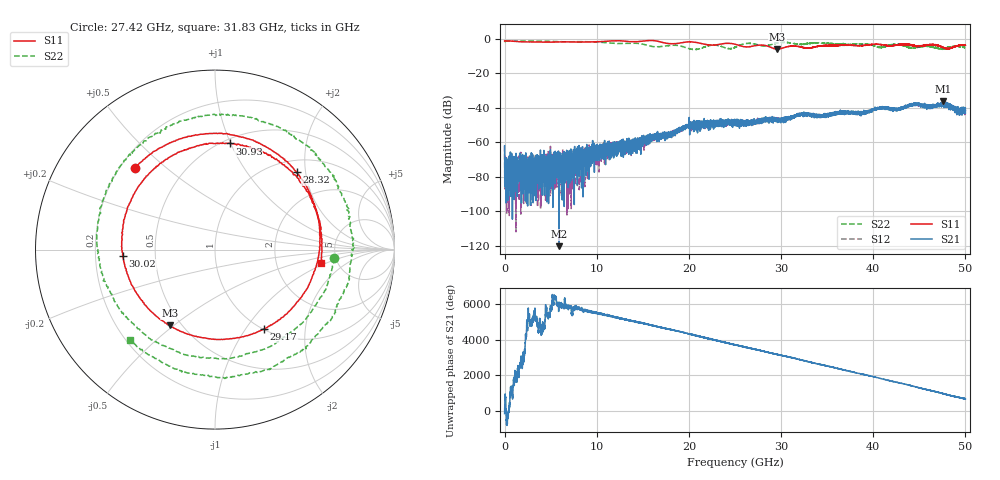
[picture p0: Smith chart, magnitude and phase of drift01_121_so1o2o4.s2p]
!Created with skrf (http://scikit-rf.org).
# Hz S RI R 50.0
!freq ReS11 ImS11 ReS21 ImS21 ReS12 ImS12 ReS22 ImS22
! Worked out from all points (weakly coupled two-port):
!   10001 points, 300 kHz to 50 GHz, reference 50 ohm
!   highest |S21| = -36.30 dB at 47.59 GHz (marker M1); lowest = -120.2 dB at 5.915 GHz (marker M2)
!   lowest |S11| = -6.2 dB at 29.61 GHz (marker M3), VSWR 2.93, Z = 21.7 - j24.2 ohm
!   |S11| at or under -10 dB: nowhere
!   |S22| runs from -6.4 to -1.4 dB; largest |S21 - S12| = 0.0044
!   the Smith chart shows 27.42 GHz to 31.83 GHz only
!   S11 on the Smith chart (normalised r, x): 27.42 GHz: 0.26, +0.40; 28.32 GHz: 1.26, +1.78; 29.17 GHz: 1.00, -1.22; 30.02 GHz: 0.32, -0.03; 30.93 GHz: 0.54, +0.99; 31.83 GHz: 3.71, -0.84
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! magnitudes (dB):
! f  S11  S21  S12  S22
! 300 kHz  -1.3  -62.0  -62.2  -2.1
! 285.3 MHz  -1.4  -73.6  -75.8  -1.4
! 2.97 GHz  -2.0  -77.7  -79.9  -1.4
! 3.685 GHz  -2.0  -71.7  -70.8  -1.5
! 4.6 GHz  -2.1  -76.0  -72.4  -1.6
! 5.915 GHz  -2.0  -120.2  -81.5  -1.8
! 8.335 GHz  -2.0  -67.9  -68.6  -1.8
! 16.67 GHz  -1.6  -56.6  -56.4  -4.8
! 20.15 GHz  -1.9  -50.3  -49.8  -6.0
! 22.62 GHz  -3.8  -49.2  -47.8  -3.8
! 25 GHz  -3.3  -50.3  -48.3  -5.0
! 27.42 GHz  -3.9  -48.9  -47.5  -3.5
! 28.32 GHz  -4.1  -46.7  -46.4  -4.3
! 29.17 GHz  -5.7  -46.4  -45.9  -3.0
! 29.61 GHz  -6.2  -47.1  -47.6  -2.5
! 30.02 GHz  -5.8  -47.5  -46.9  -2.3
! 30.93 GHz  -4.5  -46.7  -46.1  -2.5
! 31.83 GHz  -4.5  -44.6  -44.3  -3.2
! 33.34 GHz  -5.2  -44.4  -44.5  -2.7
! 41.67 GHz  -4.3  -40.2  -39.9  -4.4
! 47.59 GHz  -5.2  -36.3  -38.3  -5.7
! 50 GHz  -3.8  -43.1  -42.0  -5.3
